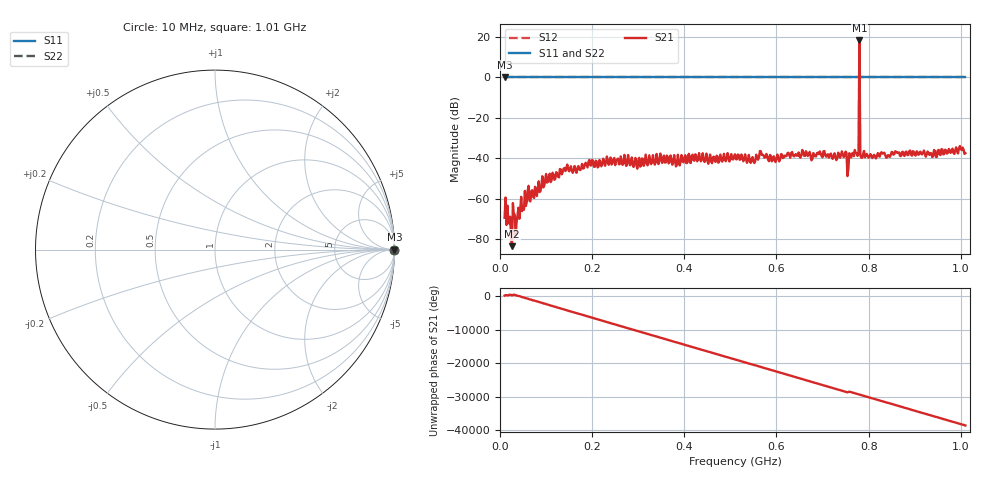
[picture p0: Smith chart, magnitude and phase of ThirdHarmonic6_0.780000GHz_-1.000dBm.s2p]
! 8/16/2025 2:02:55 AM
! C:\ANRITSUVNA\TEMP\TEMP.S2P
! CHANNEL.1
! TR.MEASUREMENT
! RAW.DATA
! RF.CORRECTION.OFF
! AVERAGING.OFF
! IF.BANDWIDTH: 5KHZ
! SWEEPTYPE:  FREQ.SWEEP(Linear)
! Reference Plane Port Info
! PORT:  PORT1  PORT2
! DISTANCE:  0  m  0  m
! TIME:  0  s  0  s
! PHASE.OFFSET:  0  deg.  0  deg.
! LOSS:  0  dB  0  dB
! REF.LOSS:  0  dB  0  dB
! REF.FREQ:  0  Hz  0  Hz
! Power Info
! POWER:  -20  dBm  -20  dBm
! EFF.POWER:  -20  dBm  -20  dBm
! SOURCE.ATTEN:  0  dB  0  dB
! TEST.ATTEN:  0  dB  0  dB
# GHZ S RI R 50.0
! FREQ.GHZ  S11RE  S11IM  S21RE  S21IM  S12RE  S12IM  S22RE  S22IM
!; PortSelection: Port_12
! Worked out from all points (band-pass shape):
!   501 points, 10 MHz to 1.01 GHz, reference 50 ohm
!   highest |S21| = 18.07 dB at 780 MHz (marker M1); lowest = -83.4 dB at 26 MHz (marker M2)
!   |S21| within 3 dB of the highest: 779.8917 MHz to 780.1061 MHz (214.4 kHz wide, 0.0275 % of centre)
!   lowest |S11| = 0.0 dB at 10 MHz (marker M3)
!   |S11| at or under -10 dB: nowhere
!   |S22| runs from 0.0 to 0.0 dB; largest |S21 - S12| = 8.8
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0.01  1 0  -0.000278 0.000195  1 0  1 0
0.016  1 0  -0.00049 -0.000469  1 0  1 0
0.022  1 0  0.000333 0.00014  1 0  1 0
0.026  1 0  -6.58e-05 -1.59e-05  1 0  1 0
0.038  1 0  -0.000249 0.00029  1 0  1 0
0.042  1 0  0.00032 -7.3e-06  1 0  1 0
0.058  1 0  0.000678 0.000461  1 0  1 0
0.104  1 0  0.00189 -0.0018  1 0  1 0
0.178  1 0  -0.00698 -0.00186  1 0  1 0
0.344  1 0  0.00711 -0.000459  1 0  1 0
0.51  1 0  -0.0123 0.0021  1 0  1 0
0.678  1 0  0.00299 -0.00919  1 0  1 0
0.746  1 0  0.00433 0.00968  1 0  1 0
0.758  1 0  0.00555 -0.0121  1 0  1 0
0.762  1 0  -0.00895 0.00524  1 0  1 0
0.774  1 0  0.0129 0.00295  1 0  1 0
0.776  1 0  0.00497 -0.0102  1 0  1 0
0.78  1 0  -6.274 4.976  1 0  1 0
0.784  1 0  0.00956 -0.00365  1 0  1 0
0.786  1 0  -7e-05 -0.0103  1 0  1 0
0.844  1 0  -0.00172 0.0115  1 0  1 0
1.01  1 0  0.00483 -0.0124  1 0  1 0
